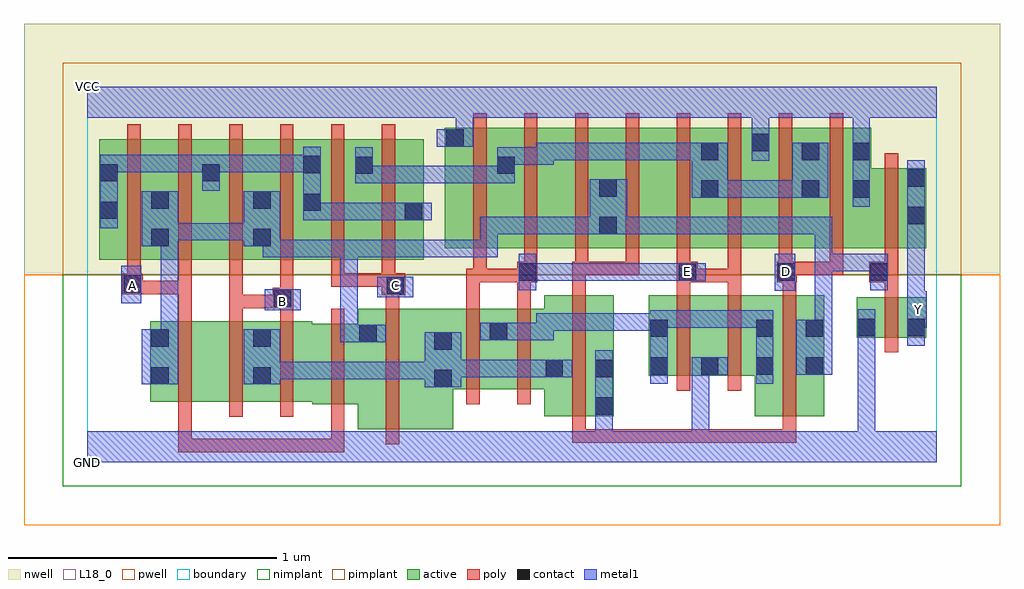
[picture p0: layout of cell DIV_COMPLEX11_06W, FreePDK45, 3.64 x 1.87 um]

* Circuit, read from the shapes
.subckt DIV_COMPLEX11_06W A B C D E GND VCC Y
M1 n1 A n2 VSUBS nfet w=0.3u l=0.05u
M2 n3 B n1 VSUBS nfet w=0.3u l=0.05u
M3 n4 B n3 VSUBS nfet w=0.3u l=0.05u
M4 n2 A n4 VSUBS nfet w=0.3u l=0.05u
M5 n3 C n2 VSUBS nfet w=0.45u l=0.05u
M6 n5 E n3 VSUBS nfet w=0.3u l=0.05u m=2
M7 GND D n3 VSUBS nfet w=0.45u l=0.05u
M8 GND E n5 VSUBS nfet w=0.3u l=0.05u m=2
M9 n2 D n5 VSUBS nfet w=0.45u l=0.05u
M10 Y n2 GND VSUBS nfet w=0.15u l=0.05u
M11 n2 A n6 n7 pfet w=0.45u l=0.05u m=2
M12 n2 B n6 n7 pfet w=0.45u l=0.05u m=2
M13 n8 C n6 n7 pfet w=0.45u l=0.05u m=2
M14 n8 E VCC n7 pfet w=0.45u l=0.05u m=2
M15 n9 E n8 n7 pfet w=0.45u l=0.05u
M16 n2 D n9 n7 pfet w=0.45u l=0.05u
M17 n10 D n2 n7 pfet w=0.45u l=0.05u
M18 n8 E n10 n7 pfet w=0.45u l=0.05u
M19 n8 D VCC n7 pfet w=0.45u l=0.05u m=2
M20 Y n2 VCC n7 pfet w=0.3u l=0.05u
.ends

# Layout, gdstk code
import gdstk
lib = gdstk.Library(unit=1e-6, precision=1e-09)
def R(c, l, rs):  # rectangles x0, y0, x1, y1
    for r in rs: c.add(gdstk.rectangle(r[:2], r[2:], *l))
def A(c, l, x, y, w, h, nx, ny, dx, dy):  # array of equal rectangles
    R(c, l, [(x+i*dx, y+j*dy, x+i*dx+w, y+j*dy+h) for i in range(nx) for j in range(ny)])
active = (1, 0)
pwell = (2, 0)
nwell = (3, 0)
nimplant = (4, 0)
pimplant = (5, 0)
poly = (9, 0)
contact = (10, 0)
metal1 = (11, 0)
L18_0 = (18, 0)
boundary = (235, 0)

div_complex11_06w = lib.new_cell('DIV_COMPLEX11_06W')
A(div_complex11_06w, active, 0.045, 0.755, 0.265, 0.45, 3, 1, 0.19, 0)
R(div_complex11_06w, active, [(1.01,0.122,1.365,0.572), (1.705,0.172,1.965,0.622), (1.89,0.172,1.965,0.622), (2.49,0.172,2.75,0.622), (2.675,0.195,2.75,0.622), (1.29,0.2,1.365,0.49), (1.705,0.2,1.78,0.547), (2.49,0.2,2.565,0.537), (0.84,0.217,1.085,0.517), (0.235,0.225,0.46,0.525), (0.46,0.225,0.69,0.525), (0.615,0.225,0.69,0.525), (0.615,0.225,0.84,0.525), (1.29,0.272,1.572,0.572), (1.497,0.272,1.78,0.572), (0.235,0.285,0.31,0.525), (2.095,0.322,2.36,0.622), (2.095,0.322,2.17,0.622), (2.285,0.322,2.565,0.622), (2.285,0.322,2.36,0.547), (1.01,0.33,1.085,0.517), (1.497,0.33,1.572,0.525), (2.87,0.465,2.945,0.615), (2.87,0.465,3.13,0.615), (3.055,0.465,3.13,0.615), (0.045,0.755,0.12,1.2), (0.235,0.755,0.31,1.07), (0.425,0.755,0.5,1.2), (0.615,0.755,0.877,1.205), (0.615,0.755,0.69,1.07), (0.802,0.755,1.07,1.205), (0.995,0.755,1.255,1.205), (1.18,0.755,1.255,1.047), (1.335,0.797,1.6,1.247), (1.525,0.797,1.75,1.247), (1.525,0.797,1.6,1.2), (1.75,0.797,1.98,1.247), (1.905,0.797,2.13,1.247), (1.905,0.797,1.98,1.07), (2.13,0.797,2.36,1.247), (2.285,0.797,2.55,1.247), (2.475,0.797,2.735,1.247), (2.66,0.797,2.925,1.247), (2.85,0.797,3.13,1.097), (2.85,0.797,2.925,1.247), (3.055,0.797,3.13,1.097), (0.802,0.827,0.877,1.2), (2.285,0.827,2.36,1.2), (0.995,0.857,1.07,1.2), (1.335,0.857,1.41,1.247), (2.475,0.857,2.55,1.247), (2.66,0.857,2.735,1.2)])
R(div_complex11_06w, pwell, [(-0.235,-0.235,3.405,0.7)])
R(div_complex11_06w, nwell, [(-0.235,0.7,3.405,1.635)])
R(div_complex11_06w, nimplant, [(-0.09,-0.09,3.26,0.7)])
R(div_complex11_06w, pimplant, [(-0.09,0.7,3.26,1.49)])
A(div_complex11_06w, poly, 0.34, 0.17, 0.05, 0.41, 3, 1, 0.19, 0)
A(div_complex11_06w, poly, 1.63, 0.697, 0.05, 0.095, 4, 1, 0.19, 0)
A(div_complex11_06w, poly, 0.15, 0.7, 0.05, 0.56, 6, 1, 0.19, 0)
A(div_complex11_06w, poly, 1.44, 0.742, 0.05, 0.56, 8, 1, 0.19, 0)
R(div_complex11_06w, poly, [(0.34,0.037,0.39,0.087), (0.34,0.037,0.39,0.087), (0.34,0.037,0.39,0.087), (0.34,0.037,0.61,0.087), (0.34,0.037,0.39,0.22), (0.56,0.037,0.61,0.087), (0.56,0.037,0.61,0.087), (0.56,0.037,0.61,0.087), (0.56,0.037,0.827,0.087), (0.777,0.037,0.827,0.087), (0.777,0.037,0.96,0.087), (0.91,0.037,0.96,0.087), (0.91,0.037,0.96,0.087), (0.91,0.037,0.96,0.087), (0.91,0.037,0.96,0.212), (1.115,0.067,1.165,0.627), (1.81,0.072,1.86,0.167), (1.81,0.072,1.86,0.122), (1.81,0.072,1.86,0.122), (1.81,0.072,1.86,0.122), (1.81,0.072,2.117,0.122), (2.067,0.072,2.117,0.122), (2.067,0.072,2.117,0.122), (2.067,0.072,2.117,0.122), (2.067,0.072,2.25,0.122), (2.2,0.072,2.25,0.122), (2.2,0.072,2.25,0.122), (2.2,0.072,2.25,0.122), (2.2,0.072,2.49,0.122), (2.44,0.072,2.49,0.122), (2.44,0.072,2.645,0.122), (2.595,0.072,2.645,0.167), (2.595,0.072,2.645,0.122), (2.595,0.072,2.645,0.122), (2.595,0.072,2.645,0.122), (1.81,0.117,1.86,0.677), (2.595,0.117,2.645,0.677), (0.91,0.162,0.96,0.572), (1.415,0.217,1.465,0.627), (1.605,0.217,1.655,0.627), (2.2,0.267,2.25,0.677), (2.39,0.267,2.44,0.677), (2.975,0.41,3.025,0.67), (0.34,0.53,0.39,0.677), (0.53,0.53,0.58,0.625), (0.72,0.53,0.77,0.625), (0.53,0.575,0.58,0.625), (0.53,0.575,0.58,0.625), (0.53,0.575,0.58,0.625), (0.53,0.575,0.58,0.75), (0.53,0.575,0.742,0.625), (0.692,0.575,0.77,0.65), (1.115,0.577,1.165,0.672), (1.415,0.577,1.465,0.722), (1.605,0.577,1.655,0.722), (0.72,0.6,0.77,0.75), (2.975,0.62,3.025,0.722), (1.1,0.622,1.187,0.705), (0.132,0.627,0.207,0.702), (0.157,0.627,0.207,0.677), (0.157,0.627,0.207,0.677), (0.157,0.627,0.39,0.677), (0.34,0.627,0.39,0.677), (0.34,0.627,0.39,0.75), (1.81,0.627,1.86,0.747), (2.2,0.627,2.25,0.722), (2.39,0.627,2.44,0.722), (2.595,0.627,2.645,0.722), (0.15,0.652,0.2,0.75), (0.91,0.655,0.96,0.75), (0.91,0.655,0.96,0.705), (0.91,0.655,1.15,0.705), (1.1,0.655,1.15,0.75), (1.1,0.655,1.15,0.705), (1.1,0.655,1.15,0.705), (1.415,0.672,1.49,0.722), (1.44,0.672,1.49,0.722), (1.44,0.672,1.49,0.722), (1.44,0.672,1.49,0.792), (1.44,0.672,1.655,0.722), (1.605,0.672,1.68,0.747), (2.2,0.672,2.277,0.747), (2.227,0.672,2.277,0.722), (2.227,0.672,2.277,0.722), (2.227,0.672,2.44,0.722), (2.39,0.672,2.44,0.722), (2.39,0.672,2.44,0.792), (2.572,0.672,2.647,0.747), (2.917,0.672,3.025,0.747), (1.81,0.697,1.87,0.747), (1.82,0.697,1.87,0.747), (1.82,0.697,1.87,0.747), (1.82,0.697,2.06,0.747), (2.01,0.697,2.06,0.747), (2.58,0.697,2.63,0.792), (2.597,0.697,2.82,0.747), (2.77,0.697,2.82,0.792), (2.77,0.697,2.82,0.747), (2.77,0.697,2.82,0.747), (2.77,0.697,2.82,0.747), (2.975,0.697,3.025,0.792), (2.975,0.742,3.025,1.152)])
R(div_complex11_06w, contact, [(1.895,0.177,1.96,0.242), (1.295,0.28,1.36,0.345), (0.24,0.29,0.305,0.355), (0.62,0.29,0.685,0.355), (1.71,0.317,1.775,0.382), (1.895,0.317,1.96,0.382), (2.1,0.327,2.165,0.392), (2.29,0.327,2.355,0.392), (2.495,0.327,2.56,0.392), (2.68,0.327,2.745,0.392), (1.295,0.42,1.36,0.485), (0.24,0.43,0.305,0.495), (0.62,0.43,0.685,0.495), (1.015,0.447,1.08,0.512), (1.502,0.455,1.567,0.52), (2.1,0.467,2.165,0.532), (2.495,0.467,2.56,0.532), (2.68,0.467,2.745,0.532), (2.875,0.47,2.94,0.535), (3.06,0.47,3.125,0.535), (0.697,0.58,0.762,0.645), (1.117,0.627,1.182,0.692), (0.137,0.632,0.202,0.697), (1.61,0.677,1.675,0.742), (2.207,0.677,2.272,0.742), (2.577,0.677,2.642,0.742), (2.922,0.677,2.987,0.742), (0.24,0.805,0.305,0.87), (0.62,0.805,0.685,0.87), (1.91,0.85,1.975,0.915), (3.06,0.887,3.125,0.952), (1.185,0.902,1.25,0.967), (0.05,0.907,0.115,0.972), (0.807,0.937,0.872,1.002), (0.24,0.945,0.305,1.01), (0.62,0.945,0.685,1.01), (2.29,0.987,2.355,1.052), (2.665,0.987,2.73,1.052), (2.855,0.987,2.92,1.052), (1.91,0.99,1.975,1.055), (3.06,1.027,3.125,1.092), (0.05,1.047,0.115,1.112), (0.43,1.047,0.495,1.112), (1,1.075,1.065,1.14), (1.53,1.075,1.595,1.14), (0.807,1.077,0.872,1.142), (2.29,1.127,2.355,1.192), (2.665,1.127,2.73,1.192), (2.855,1.127,2.92,1.192), (2.48,1.16,2.545,1.225), (1.34,1.177,1.405,1.242)])
R(div_complex11_06w, metal1, [(0,0,3.17,0.115), (1.895,0.05,1.96,0.207), (2.255,0.05,2.32,0.115), (2.255,0.05,2.32,0.115), (2.255,0.05,2.32,0.115), (2.255,0.05,2.32,0.115), (2.255,0.05,2.32,0.392), (2.875,0.05,2.94,0.115), (2.875,0.05,2.94,0.115), (2.875,0.05,2.94,0.115), (2.875,0.05,2.94,0.115), (2.875,0.05,2.94,0.115), (2.875,0.05,2.94,0.115), (2.875,0.05,2.94,0.5), (1.895,0.142,1.96,0.417), (1.895,0.142,1.96,0.207), (1.895,0.142,1.96,0.207), (1.26,0.28,1.395,0.485), (0.205,0.29,0.34,0.495), (0.585,0.29,0.72,0.495), (2.1,0.292,2.165,0.567), (2.495,0.292,2.56,0.567), (0.655,0.31,0.72,0.375), (0.655,0.31,0.72,0.375), (0.655,0.31,0.857,0.375), (0.792,0.31,0.857,0.375), (0.792,0.31,0.857,0.375), (0.792,0.31,0.857,0.375), (0.792,0.31,1.01,0.375), (0.945,0.31,1.01,0.375), (0.945,0.31,1.01,0.375), (0.945,0.31,1.01,0.375), (0.945,0.31,1.325,0.375), (1.33,0.317,1.395,0.382), (1.33,0.317,1.395,0.382), (1.33,0.317,1.537,0.382), (1.472,0.317,1.537,0.382), (1.472,0.317,1.537,0.382), (1.472,0.317,1.537,0.382), (1.472,0.317,1.702,0.382), (1.637,0.317,1.702,0.382), (1.637,0.317,1.74,0.382), (1.675,0.317,1.81,0.382), (2.255,0.327,2.39,0.392), (2.645,0.327,2.78,0.532), (0.275,0.43,0.34,0.495), (0.275,0.43,0.34,0.495), (0.275,0.43,0.34,0.87), (2.875,0.435,2.94,0.57), (3.06,0.435,3.125,0.57), (0.945,0.447,1.01,0.83), (0.945,0.447,1.115,0.512), (1.467,0.455,1.602,0.52), (1.537,0.455,1.74,0.52), (1.675,0.455,1.74,0.555), (2.715,0.467,2.78,0.777), (1.675,0.49,1.74,0.555), (1.675,0.49,1.74,0.555), (1.675,0.49,1.877,0.555), (1.812,0.49,1.877,0.555), (1.812,0.49,2.027,0.555), (1.962,0.49,2.027,0.555), (1.962,0.49,2.027,0.555), (1.962,0.49,2.027,0.555), (1.962,0.49,2.165,0.555), (2.1,0.502,2.165,0.567), (2.1,0.502,2.165,0.567), (2.1,0.502,2.407,0.567), (2.342,0.502,2.407,0.567), (2.342,0.502,2.407,0.567), (2.342,0.502,2.407,0.567), (2.342,0.502,2.56,0.567), (3.06,0.502,3.132,0.637), (3.06,0.505,3.125,0.57), (0.662,0.567,0.797,0.645), (3.06,0.572,3.125,0.917), (0.127,0.592,0.202,0.732), (1.082,0.615,1.217,0.692), (2.565,0.64,2.642,0.777), (1.61,0.642,1.675,0.777), (2.922,0.642,2.987,0.777), (1.61,0.677,1.74,0.742), (1.675,0.677,1.74,0.742), (1.675,0.677,1.877,0.742), (1.812,0.677,1.877,0.742), (1.812,0.677,2.027,0.742), (1.962,0.677,2.027,0.742), (1.962,0.677,2.027,0.742), (1.962,0.677,2.027,0.742), (1.962,0.677,2.165,0.742), (2.1,0.677,2.165,0.742), (2.1,0.677,2.237,0.742), (2.172,0.677,2.307,0.742), (2.715,0.712,2.78,0.777), (2.715,0.712,2.78,0.777), (2.715,0.712,2.78,0.777), (2.715,0.712,2.987,0.777), (2.715,0.712,2.78,0.915), (2.922,0.712,2.987,0.777), (2.922,0.712,2.987,0.777), (0.655,0.765,0.872,0.83), (0.655,0.765,0.72,0.87), (0.807,0.765,0.872,0.83), (0.807,0.765,0.872,0.83), (0.807,0.765,0.872,0.83), (0.807,0.765,1.01,0.83), (0.945,0.765,1.01,0.83), (0.945,0.765,1.01,0.83), (0.945,0.765,1.01,0.83), (0.945,0.765,1.01,0.83), (0.945,0.765,1.01,0.83), (0.945,0.765,1.287,0.83), (1.222,0.765,1.287,0.83), (1.222,0.765,1.287,0.83), (1.222,0.765,1.287,0.83), (1.222,0.765,1.532,0.83), (1.467,0.765,1.532,0.915), (0.205,0.805,0.34,1.01), (0.585,0.805,0.72,1.01), (0.655,0.805,0.72,0.87), (0.275,0.827,0.34,0.892), (0.275,0.827,0.34,0.892), (0.275,0.827,0.512,0.892), (0.447,0.827,0.512,0.892), (0.447,0.827,0.512,0.892), (0.447,0.827,0.512,0.892), (0.447,0.827,0.65,0.892), (1.467,0.85,1.532,0.915), (1.467,0.85,1.532,0.915), (1.467,0.85,1.74,0.915), (1.675,0.85,1.74,0.915), (1.675,0.85,1.74,0.915), (1.675,0.85,1.74,0.915), (1.675,0.85,1.877,0.915), (1.812,0.85,1.877,0.915), (1.812,0.85,1.94,0.915), (1.875,0.85,2.015,1.055), (1.95,0.85,2.015,0.915), (1.95,0.85,2.015,0.915), (1.95,0.85,2.182,0.915), (2.117,0.85,2.182,0.915), (2.117,0.85,2.182,0.915), (2.117,0.85,2.182,0.915), (2.117,0.85,2.32,0.915), (2.255,0.85,2.32,0.915), (2.255,0.85,2.32,0.915), (2.255,0.85,2.32,0.915), (2.255,0.85,2.557,0.915), (2.492,0.85,2.557,0.915), (2.492,0.85,2.557,0.915), (2.492,0.85,2.557,0.915), (2.492,0.85,2.78,0.915), (2.715,0.85,2.78,0.915), (3.06,0.852,3.125,1.127), (0.05,0.872,0.115,1.147), (0.807,0.902,0.872,1.177), (0.807,0.902,0.872,0.967), (0.807,0.902,0.872,0.967), (0.807,0.902,1.077,0.967), (1.012,0.902,1.077,0.967), (1.012,0.902,1.077,0.967), (1.012,0.902,1.077,0.967), (1.012,0.902,1.215,0.967), (1.15,0.902,1.285,0.967), (2.855,0.952,2.92,1.227), (2.255,0.987,2.39,1.192), (2.325,0.987,2.39,1.052), (2.325,0.987,2.39,1.052), (2.325,0.987,2.557,1.052), (2.492,0.987,2.557,1.052), (2.492,0.987,2.557,1.052), (2.492,0.987,2.557,1.052), (2.492,0.987,2.695,1.052), (2.63,0.987,2.765,1.192), (0.43,1.012,0.495,1.147), (1,1.04,1.065,1.105), (1,1.04,1.065,1.105), (1,1.04,1.065,1.175), (1,1.04,1.215,1.105), (1.15,1.04,1.215,1.105), (1.15,1.04,1.215,1.105), (1.15,1.04,1.215,1.105), (1.15,1.04,1.532,1.105), (1.467,1.04,1.532,1.105), (1.467,1.04,1.595,1.105), (1.53,1.04,1.595,1.175), (0.05,1.082,0.115,1.147), (0.05,1.082,0.115,1.147), (0.05,1.082,0.357,1.147), (0.292,1.082,0.357,1.147), (0.292,1.082,0.357,1.147), (0.292,1.082,0.357,1.147), (0.292,1.082,0.495,1.147), (0.43,1.082,0.495,1.147), (0.43,1.082,0.495,1.147), (0.43,1.082,0.72,1.147), (0.655,1.082,0.72,1.147), (0.655,1.082,0.72,1.147), (0.655,1.082,0.72,1.147), (0.655,1.082,0.872,1.147), (1.53,1.11,1.74,1.175), (1.675,1.11,1.74,1.175), (1.675,1.11,1.74,1.175), (1.675,1.11,1.74,1.192), (2.48,1.125,2.545,1.26), (1.675,1.127,1.877,1.192), (1.812,1.127,1.877,1.192), (1.812,1.127,2.027,1.192), (1.962,1.127,2.027,1.192), (1.962,1.127,2.027,1.192), (1.962,1.127,2.027,1.192), (1.962,1.127,2.182,1.192), (2.117,1.127,2.182,1.192), (2.117,1.127,2.182,1.192), (2.117,1.127,2.182,1.192), (2.117,1.127,2.32,1.192), (2.855,1.162,2.92,1.35), (1.305,1.177,1.44,1.242), (1.375,1.177,1.44,1.35), (2.48,1.195,2.545,1.35), (0,1.285,3.17,1.4)])
R(div_complex11_06w, L18_0, [(0,0,3.17,0.115), (1.895,0.05,1.96,0.207), (2.255,0.05,2.32,0.115), (2.255,0.05,2.32,0.115), (2.255,0.05,2.32,0.115), (2.255,0.05,2.32,0.115), (2.255,0.05,2.32,0.392), (2.875,0.05,2.94,0.115), (2.875,0.05,2.94,0.115), (2.875,0.05,2.94,0.115), (2.875,0.05,2.94,0.115), (2.875,0.05,2.94,0.115), (2.875,0.05,2.94,0.115), (2.875,0.05,2.94,0.5), (1.895,0.142,1.96,0.207), (1.895,0.142,1.96,0.207), (1.895,0.142,1.96,0.417), (2.255,0.327,2.39,0.392), (2.875,0.435,2.94,0.57), (3.06,0.435,3.125,0.57), (3.06,0.502,3.132,0.637), (3.06,0.505,3.125,0.57), (3.067,0.537,3.132,0.602), (0.662,0.567,0.797,0.645), (0.697,0.567,0.762,0.632), (3.06,0.572,3.125,0.917), (0.127,0.592,0.202,0.732), (1.082,0.615,1.217,0.692), (0.137,0.627,0.202,0.692), (1.117,0.627,1.182,0.692), (2.565,0.64,2.642,0.777), (1.61,0.642,1.675,0.777), (1.61,0.677,1.74,0.742), (1.675,0.677,1.74,0.742), (1.675,0.677,1.877,0.742), (1.812,0.677,1.877,0.742), (1.812,0.677,2.027,0.742), (1.962,0.677,2.027,0.742), (1.962,0.677,2.027,0.742), (1.962,0.677,2.027,0.742), (1.962,0.677,2.165,0.742), (2.1,0.677,2.165,0.742), (2.1,0.677,2.237,0.742), (2.172,0.677,2.307,0.742), (2.207,0.677,2.272,0.742), (2.577,0.677,2.642,0.742), (3.06,0.852,3.125,1.127), (2.855,0.952,2.92,1.227), (2.48,1.125,2.545,1.26), (2.855,1.162,2.92,1.35), (1.305,1.177,1.44,1.242), (1.375,1.177,1.44,1.35), (2.48,1.195,2.545,1.35), (0,1.285,3.17,1.4)])
R(div_complex11_06w, boundary, [(0,0,3.17,1.4)])
div_complex11_06w.add(gdstk.Label('A', (0.17,0.66), layer=11, texttype=0))
div_complex11_06w.add(gdstk.Label('B', (0.73,0.6), layer=11, texttype=0))
div_complex11_06w.add(gdstk.Label('C', (1.15,0.66), layer=11, texttype=0))
div_complex11_06w.add(gdstk.Label('D', (2.61,0.71), layer=11, texttype=0))
div_complex11_06w.add(gdstk.Label('E', (2.24,0.71), layer=11, texttype=0))
div_complex11_06w.add(gdstk.Label('Y', (3.1,0.57), layer=11, texttype=0))
div_complex11_06w.add(gdstk.Label('VCC', (0,1.4), layer=11, texttype=0))
div_complex11_06w.add(gdstk.Label('GND', (0,0), layer=11, texttype=0))

lib.write_gds('DIV_COMPLEX11_06W.gds')
